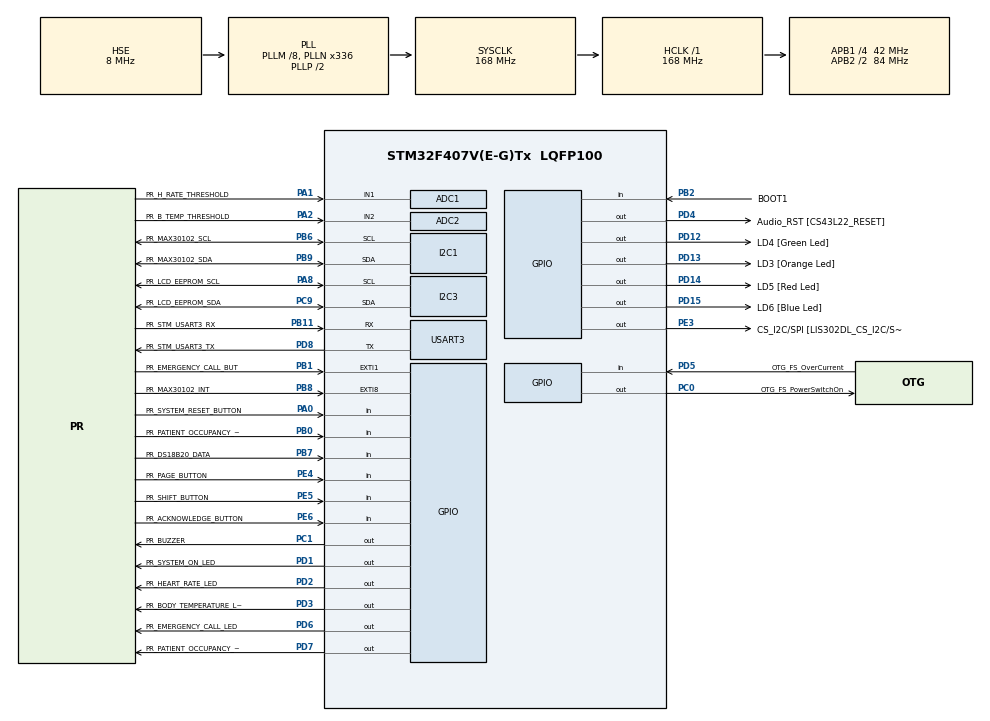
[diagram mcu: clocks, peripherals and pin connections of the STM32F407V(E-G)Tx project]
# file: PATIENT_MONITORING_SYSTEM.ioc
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ADC1.Channel-0\#ChannelRegularConversion=ADC_CHANNEL_1
ADC1.NbrOfConversionFlag=1
ADC1.Rank-0\#ChannelRegularConversion=1
ADC1.Resolution=ADC_RESOLUTION_8B
ADC1.SamplingTime-0\#ChannelRegularConversion=ADC_SAMPLETIME_3CYCLES
ADC1.master=1
ADC2.Channel-0\#ChannelRegularConversion=ADC_CHANNEL_2
ADC2.NbrOfConversionFlag=1
ADC2.Rank-0\#ChannelRegularConversion=1
ADC2.Resolution=ADC_RESOLUTION_6B
ADC2.SamplingTime-0\#ChannelRegularConversion=ADC_SAMPLETIME_3CYCLES
I2C1.I2C_Mode=I2C_Fast
I2C3.I2C_Mode=I2C_Standard
Mcu.Family=STM32F4
Mcu.Name=STM32F407V(E-G)Tx
Mcu.Package=LQFP100
NVIC.EXTI1_IRQn=true\:0\:0\:false\:false\:true\:true\:true\:true
NVIC.EXTI9_5_IRQn=true\:0\:0\:false\:false\:true\:true\:true\:true
NVIC.PriorityGroup=NVIC_PRIORITYGROUP_0
NVIC.TIM6_DAC_IRQn=true\:0\:0\:false\:false\:true\:true\:true\:true
NVIC.USART3_IRQn=true\:0\:0\:false\:false\:true\:true\:true\:true
PA0-WKUP.GPIO_Label=PR_SYSTEM_RESET_BUTTON
PA0-WKUP.Signal=GPIO_Input
PA1.GPIO_Label=PR_H_RATE_THRESHOLD
PA1.Signal=ADCx_IN1
PA10.GPIO_Label=OTG_FS_ID
PA10.GPIO_Mode=GPIO_MODE_AF_PP
PA10.GPIO_PuPd=GPIO_NOPULL
PA10.GPIO_Speed=GPIO_SPEED_FREQ_LOW
PA10.Signal=USB_OTG_FS_ID
PA11.GPIO_Label=OTG_FS_DM
PA11.GPIO_Mode=GPIO_MODE_AF_PP
PA11.GPIO_PuPd=GPIO_NOPULL
PA11.GPIO_Speed=GPIO_SPEED_FREQ_LOW
PA11.Signal=USB_OTG_FS_DM
PA12.GPIO_Label=OTG_FS_DP
PA12.GPIO_Mode=GPIO_MODE_AF_PP
PA12.GPIO_PuPd=GPIO_NOPULL
PA12.GPIO_Speed=GPIO_SPEED_FREQ_LOW
PA12.Signal=USB_OTG_FS_DP
PA13.GPIO_Label=SWDIO
PA13.Mode=Serial_Wire
PA13.Signal=SYS_JTMS-SWDIO
PA14.GPIO_Label=SWCLK
PA14.Mode=Serial_Wire
PA14.Signal=SYS_JTCK-SWCLK
PA2.GPIO_Label=PR_B_TEMP_THRESHOLD
PA2.Signal=ADCx_IN2
PA4.GPIO_Label=I2S3_WS [CS43L22_LRCK]
PA4.GPIO_Mode=GPIO_MODE_AF_PP
PA4.GPIO_PuPd=GPIO_NOPULL
PA4.GPIO_Speed=GPIO_SPEED_FREQ_LOW
PA4.Signal=I2S3_WS
PA5.GPIO_Label=SPI1_SCK [LIS302DL_SCL/SPC]
PA5.GPIO_Mode=GPIO_MODE_AF_PP
PA5.GPIO_PuPd=GPIO_NOPULL
PA5.GPIO_Speed=GPIO_SPEED_FREQ_LOW
PA5.Signal=SPI1_SCK
PA6.GPIO_Label=SPI1_MISO [LIS302DL_SDO]
PA6.GPIO_Mode=GPIO_MODE_AF_PP
PA6.GPIO_PuPd=GPIO_NOPULL
PA6.GPIO_Speed=GPIO_SPEED_FREQ_LOW
PA6.Signal=SPI1_MISO
PA7.GPIO_Label=SPI1_MOSI [LIS302DL_SDA/SDI/SDO]
PA7.GPIO_Mode=GPIO_MODE_AF_PP
PA7.GPIO_PuPd=GPIO_NOPULL
PA7.GPIO_Speed=GPIO_SPEED_FREQ_LOW
PA7.Signal=SPI1_MOSI
PA8.GPIO_Label=PR_LCD_EEPROM_SCL
PA8.Mode=I2C
PA8.Signal=I2C3_SCL
PA9.GPIO_Label=VBUS_FS
PA9.GPIO_Mode=GPIO_MODE_INPUT
PA9.GPIO_PuPd=GPIO_NOPULL
PA9.Signal=USB_OTG_FS_VBUS
PB0.GPIO_Label=PR_PATIENT_OCCUPANCY_DET
PB0.GPIO_PuPd=GPIO_PULLDOWN
PB0.Signal=GPIO_Input
PB1.GPIO_Label=PR_EMERGENCY_CALL_BUT
PB1.GPIO_PuPd=GPIO_PULLDOWN
PB1.Signal=GPXTI1
PB10.GPIO_Label=CLK_IN [MP45DT02_CLK]
PB10.GPIO_Mode=GPIO_MODE_AF_PP
PB10.GPIO_PuPd=GPIO_NOPULL
PB10.GPIO_Speed=GPIO_SPEED_FREQ_LOW
PB10.Signal=I2S2_CK
PB11.GPIO_Label=PR_STM_USART3_RX
PB11.Mode=Asynchronous
PB11.Signal=USART3_RX
PB2.GPIO_Label=BOOT1
PB2.GPIO_Mode=GPIO_MODE_INPUT
PB2.GPIO_PuPd=GPIO_NOPULL
PB2.Signal=GPIO_Input
PB3.GPIO_Label=SWO
PB3.Signal=SYS_JTDO-SWO
PB6.GPIO_Label=PR_MAX30102_SCL
PB6.GPIO_Mode=GPIO_MODE_AF_OD
PB6.GPIO_Pu=GPIO_PULLUP
PB6.GPIO_PuPd=GPIO_NOPULL
PB6.GPIO_Speed=GPIO_SPEED_FREQ_LOW
PB6.Mode=I2C
PB6.Signal=I2C1_SCL
PB7.GPIO_Label=PR_DS18B20_DATA
PB7.GPIO_PuPd=GPIO_NOPULL
PB7.Signal=GPIO_Input
PB8.GPIO_Label=PR_MAX30102_INT
PB8.GPIO_ModeDefaultEXTI=GPIO_MODE_IT_FALLING
PB8.GPIO_PuPd=GPIO_PULLUP
PB8.Signal=GPXTI8
PB9.GPIO_Label=PR_MAX30102_SDA
PB9.GPIO_Mode=GPIO_MODE_AF_OD
PB9.GPIO_Pu=GPIO_PULLUP
PB9.GPIO_PuPd=GPIO_NOPULL
PB9.GPIO_Speed=GPIO_SPEED_FREQ_LOW
PB9.Mode=I2C
PB9.Signal=I2C1_SDA
PC0.GPIO_Label=OTG_FS_PowerSwitchOn
PC0.GPIO_PuPd=GPIO_NOPULL
PC0.GPIO_Speed=GPIO_SPEED_FREQ_LOW
PC0.PinState=GPIO_PIN_SET
PC0.Signal=GPIO_Output
PC1.GPIO_Label=PR_BUZZER
PC1.Signal=GPIO_Output
PC10.GPIO_Label=I2S3_SCK [CS43L22_SCLK]
PC10.GPIO_Mode=GPIO_MODE_AF_PP
PC10.GPIO_PuPd=GPIO_NOPULL
PC10.GPIO_Speed=GPIO_SPEED_FREQ_LOW
PC10.Signal=I2S3_CK
PC12.GPIO_Label=I2S3_SD [CS43L22_SDIN]
PC12.GPIO_Mode=GPIO_MODE_AF_PP
PC12.GPIO_PuPd=GPIO_NOPULL
PC12.GPIO_Speed=GPIO_SPEED_FREQ_LOW
PC12.Signal=I2S3_SD
PC14-OSC32_IN.GPIO_Label=PC14-OSC32_IN
PC14-OSC32_IN.Mode=LSE-External-Oscillator
PC14-OSC32_IN.Signal=RCC_OSC32_IN
PC15-OSC32_OUT.GPIO_Label=PC15-OSC32_OUT
PC15-OSC32_OUT.Mode=LSE-External-Oscillator
PC15-OSC32_OUT.Signal=RCC_OSC32_OUT
PC3.GPIO_Label=PDM_OUT [MP45DT02_DOUT]
PC3.GPIO_Mode=GPIO_MODE_AF_PP
PC3.GPIO_PuPd=GPIO_NOPULL
PC3.GPIO_Speed=GPIO_SPEED_FREQ_LOW
PC3.Signal=I2S2_SD
PC7.GPIO_Label=I2S3_MCK [CS43L22_MCLK]
PC7.GPIO_Mode=GPIO_MODE_AF_PP
PC7.GPIO_PuPd=GPIO_NOPULL
PC7.GPIO_Speed=GPIO_SPEED_FREQ_LOW
PC7.Signal=I2S3_MCK
PC9.GPIO_Label=PR_LCD_EEPROM_SDA
PC9.Mode=I2C
PC9.Signal=I2C3_SDA
PD1.GPIO_Label=PR_SYSTEM_ON_LED
PD1.Signal=GPIO_Output
PD12.GPIO_Label=LD4 [Green Led]
PD12.GPIO_PuPd=GPIO_NOPULL
PD12.GPIO_Speed=GPIO_SPEED_FREQ_LOW
PD12.Signal=GPIO_Output
PD13.GPIO_Label=LD3 [Orange Led]
PD13.GPIO_PuPd=GPIO_NOPULL
PD13.GPIO_Speed=GPIO_SPEED_FREQ_LOW
PD13.Signal=GPIO_Output
PD14.GPIO_Label=LD5 [Red Led]
PD14.GPIO_PuPd=GPIO_NOPULL
PD14.GPIO_Speed=GPIO_SPEED_FREQ_LOW
PD14.Signal=GPIO_Output
PD15.GPIO_Label=LD6 [Blue Led]
PD15.GPIO_PuPd=GPIO_NOPULL
PD15.GPIO_Speed=GPIO_SPEED_FREQ_LOW
PD15.Signal=GPIO_Output
PD2.GPIO_Label=PR_HEART_RATE_LED 
PD2.Signal=GPIO_Output
PD3.GPIO_Label=PR_BODY_TEMPERATURE_LED 
PD3.Signal=GPIO_Output
PD4.GPIO_Label=Audio_RST [CS43L22_RESET]
PD4.GPIO_PuPd=GPIO_NOPULL
PD4.GPIO_Speed=GPIO_SPEED_FREQ_LOW
PD4.Signal=GPIO_Output
PD5.GPIO_Label=OTG_FS_OverCurrent
PD5.GPIO_Mode=GPIO_MODE_INPUT
PD5.GPIO_PuPd=GPIO_NOPULL
PD5.Signal=GPIO_Input
PD6.GPIO_Label=PR_EMERGENCY_CALL_LED 
PD6.Signal=GPIO_Output
PD7.GPIO_Label=PR_PATIENT_OCCUPANCY_LED 
PD7.Signal=GPIO_Output
PD8.GPIO_Label=PR_STM_USART3_TX
PD8.Mode=Asynchronous
PD8.Signal=USART3_TX
PE3.GPIO_Label=CS_I2C/SPI [LIS302DL_CS_I2C/SPI]
PE3.GPIO_PuPd=GPIO_NOPULL
PE3.GPIO_Speed=GPIO_SPEED_FREQ_LOW
PE3.Signal=GPIO_Output
PE4.GPIO_Label=PR_PAGE_BUTTON
PE4.Signal=GPIO_Input
PE5.GPIO_Label=PR_SHIFT_BUTTON
PE5.Signal=GPIO_Input
PE6.GPIO_Label=PR_ACKNOWLEDGE_BUTTON
PE6.Signal=GPIO_Input
PH0-OSC_IN.GPIO_Label=PH0-OSC_IN
PH0-OSC_IN.Mode=HSE-External-Oscillator
PH0-OSC_IN.Signal=RCC_OSC_IN
PH1-OSC_OUT.GPIO_Label=PH1-OSC_OUT
PH1-OSC_OUT.Mode=HSE-External-Oscillator
PH1-OSC_OUT.Signal=RCC_OSC_OUT
ProjectManager.HeapSize=0x200
ProjectManager.StackSize=0x400
ProjectManager.TargetToolchain=STM32CubeIDE
RCC.48MHZClocksFreq_Value=48000000
RCC.AHBFreq_Value=168000000
RCC.APB1CLKDivider=RCC_HCLK_DIV4
RCC.APB1Freq_Value=42000000
RCC.APB1TimFreq_Value=84000000
RCC.APB2CLKDivider=RCC_HCLK_DIV2
RCC.APB2Freq_Value=84000000
RCC.APB2TimFreq_Value=168000000
RCC.CortexFreq_Value=168000000
RCC.HCLKFreq_Value=168000000
RCC.HSE_VALUE=8000000
RCC.HSI_VALUE=16000000
RCC.PLLM=8
RCC.PLLN=336
RCC.PLLQ=7
RCC.PLLSourceVirtual=RCC_PLLSOURCE_HSE
RCC.SYSCLKFreq_VALUE=168000000
RCC.SYSCLKSource=RCC_SYSCLKSOURCE_PLLCLK
RCC.VCOOutputFreq_Value=336000000
SH.ADCx_IN1.0=ADC1_IN1,IN1
SH.ADCx_IN2.0=ADC2_IN2,IN2
TIM6.Period=4
TIM6.Prescaler=16799
TIM6.TIM_MasterOutputTrigger=TIM_TRGO_UPDATE
USART3.VirtualMode=VM_ASYNC
VP_TIM6_VS_ClockSourceINT.Mode=Enable_Timer
board=STM32F407G-DISC1

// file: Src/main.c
/* USER CODE BEGIN Header */
//********************************************************************************************************************/
// Summary    	:
// Date       	: 12.05.2023
// Author     	: Project Group
// Version    	: 1.00 - 10.01.2023  :Initial version
// Sources    	:
// Libraries  	:
// Notes      	: MAX30102 Ayarlar:
//				: I2C1 modulunu aktif ediyoruz. I2C Fast Mode (400kHz),
//				: MAX30102'den kesme alabilmek için bir pini GPIO_EXTIx olarak ayarliyoruz.
//			  	: Bu pinin modunu Falling Edge ve pull-up olarak konfigure ediyoruz.
//				: Interrupt alinabilmesi ici NVIC kesme onay kutusu isaretlenmis olmalidir.
//				: DS18B20 Ayarlar:
//				: DS1820B.c dosyasinda DQ sinyalini bagladigimiz port ve pin'i tanimliyoruz.
//				: LCD Display ayarları:
//				: I2C3 modülünü aktif ediyoruz. I2C Standart Mode (100kHz),
//				: liquidcrystal_i2c.c dosyasında "extern I2C_HandleTypeDef hi2c3" olarak düzenliyoruz.
//				: liquidcrystal_i2c.c dosyasında ExpanderWrite fonksiyonunuda da HAL_I2C_Master_Transmit
//				: fonksiyonu ilk parametresini &hi2c3 olarak degistiriyoruz.
//********************************************************************************************************************/
//********************************************************************************************************************/
// PD0 -> PR_PATIENT_OCCUPANCY
// PD1 -> PR_EMERGENCY_CALL

/* USER CODE END Header */
#include "main.h"

/* USER CODE BEGIN Includes */
#include "MAX30102.h"
#include "DS18B20.h"
#include "EEPROM.h"
#include "liquidcrystal_i2c.h"

#include "string.h"
#include "stdlib.h"																					// atoi fonksiyonu kullanılacaksa bu kütüphane dosyasına ihtiyaç var (şu an için kullanmadık).
#include "stdio.h"																					// printf, sprintf fonksiyonları kullanılacaksa bu kütüphane dosyasına ihtiyaç var.
#include "stdbool.h"																				// boolean type tanımları için...

/* USER CODE END Includes */

ADC_HandleTypeDef hadc1;
ADC_HandleTypeDef hadc2;

I2C_HandleTypeDef hi2c1;
I2C_HandleTypeDef hi2c3;

TIM_HandleTypeDef htim6;

UART_HandleTypeDef huart3;

/* USER CODE BEGIN PV */
/*------ Lag Free Delay Variables ------*/
uint32_t last_time = 0;
uint32_t present_time = 0;
uint16_t process_period_timer = 0;																	// Analog Okuma, DHT ve UART için işlemlerin uygylanma periyodunu belirleyen zamanlama değişkeni

/*--------- Debounce variables ---------*/
/* Page Button */
uint8_t button_state1;
uint8_t last_button_state1 = 0;
uint32_t last_debounce_time1 = 0;
uint32_t debounce_delay1 = 50;
/* Shift Button */
uint8_t button_state2;
uint8_t last_button_state2 = 0;
uint32_t last_debounce_time2 = 0;
uint32_t debounce_delay2 = 50;
/* Acknowledge Button */
uint8_t button_state3;
uint8_t last_button_state3 = 0;
uint32_t last_debounce_time3 = 0;
uint32_t debounce_delay3 = 50;

/*--- MAX30102 Variables ---*/
uint8_t finger_on = 0;
int32_t hr_old = 1, hr_new = 1;
int32_t sp_old = 1, sp_new = 1;
float T = 0.0;

/*---- DS18B20 Variables ---*/
DS_DataTypedef DS_Data;
uint8_t temp_integer = 0;																			// Sıcaklık verisinin tam sayı kısmı,
uint8_t temp_sign = 0;
float temp_fractional = 0.0;
float temp_full = 0.0;

/*--- LCD Display Variables ---*/
char char_array[16];																				// sprintf fonksiyonunda string oluşturmak için gerekli char dizi.
char row0_cursor = '>';
char row1_cursor = ' ';
uint8_t row0_value = 0;
uint8_t row1_value = 0;
uint8_t page_number = 0;																			// Display görüntüleri arasındaki geçiş için kullanılan counter değişkeni
uint8_t shift_counter = 0;																			// Satırlar arasında geçiş için kullanılan counter değişkeni

/*--- ADC Threshold Set Variables ---*/
uint16_t hr_adc_threshold = 0;																		// Potansiyometre ile ayarlanan Heart Rate değeri
uint16_t bt_adc_threshold = 0;																		// Potansiyometre ile ayarlanan Body Temperature değeri

/*--- Occupancy Detector and CAll Button Variables ---*/
bool emergency_button_flag = false;
uint8_t po_button_state;
uint8_t po_last_button_state = 0;
uint32_t po_last_debounce_time = 0;
uint32_t po_debounce_delay = 50;

/*--- EEPROM Variables ---*/
uint8_t threshold_values[4];

/*------ Buzzer Control Variables ------*/
uint16_t buzzer_timing_counter1 = 0;																// Buzzer'ın kesikli veya kısa süreli beep yapması için Timer kesmesi içinde artırılan zamanlama değişkeni
uint16_t buzzer_timing_counter2 = 0;
bool alarm_buzzer_enable = false;
bool acknowledge_buzzer_enable = false;

/*---- UART Communication Variables ----*/
uint8_t transmit_data[2] = {0, 0};
uint8_t receive_data[2] = {0, 0}; 																	// Veri almıyoruz.o sebeple kullanılmıyor.
bool command1_flag = false;
bool command2_flag = false;
bool command3_flag = false;
bool command4_flag = false;
bool command5_flag = false;
bool command6_flag = false;

/*--- General Variables ---*/
bool clear_once = false;
bool one_shot_hr = true;
bool one_shot_bt = true;
bool system_alarm_enable = true;																	// Sistemin alarm fonksiyonları devrede;
uint16_t test_counter = 0;
/* USER CODE END PV */

void SystemClock_Config(void);
static void MX_GPIO_Init(void);
static void MX_I2C1_Init(void);
static void MX_ADC1_Init(void);
static void MX_ADC2_Init(void);
static void MX_I2C3_Init(void);
static void MX_USART3_UART_Init(void);
static void MX_TIM6_Init(void);

/* USER CODE BEGIN 0 */

/*================= GPIO Input olarak konfigure edilmis pinlerden gelen kesmeler =================*/
void HAL_GPIO_EXTI_Callback(uint16_t GPIO_Pin){
	if(GPIO_Pin == PR_MAX30102_INT_Pin){
		Max30102_InterruptCallback();
	}

	if (GPIO_Pin == PR_EMERGENCY_CALL_BUT_Pin){														// Kesme Emergency Call Button kaynakli ise;
		emergency_button_flag = true;
	}
}

/*========================= Her 1 ms'de bir kere calisan Timer 6 kesmesi =========================*/
void HAL_TIM_PeriodElapsedCallback(TIM_HandleTypeDef *htim)
{
	if (htim->Instance == htim6.Instance){															// Gelen Timer kesemsi Timer6 kaynakli ise;
		if (alarm_buzzer_enable == true){															// Alarm aktif olduysa;
			if (buzzer_timing_counter1 == 500){														// 500 ms sure ile
				HAL_GPIO_TogglePin(PR_BUZZER_GPIO_Port, PR_BUZZER_Pin);								// Buzzer'in bagli oldugu pini 1 ve 0 yap.
				buzzer_timing_counter1 = 0;
			}
			buzzer_timing_counter1 ++;
		}

		if (acknowledge_buzzer_enable == true){														// Acknowledge butonuna basildiysa;
			if (buzzer_timing_counter2 == 200){														// 200 ms sure sonunda
				HAL_GPIO_WritePin(PR_BUZZER_GPIO_Port, PR_BUZZER_Pin, 0);							// Buzzer'i sustur.
				buzzer_timing_counter2 = 0;
				acknowledge_buzzer_enable = false;													// 1 kes beep yapmasini istediğimizden flag'i false yaptik.
			}
			buzzer_timing_counter2 ++;
		}
	}
}

/*============ ESP-01'den UART verisi geldiginde tetiklenen interrupt (kullanilmiyor) ============*/
void HAL_UART_RxCpltCallback(UART_HandleTypeDef *huart)
{
	if (huart->Instance == USART3){
	/* Alınan veri burada isleniyor */
	}
	// HAL_UART_Receive_IT(&huart3, receive_data, 2);
}

/* USER CODE END 0 */

int main(void)
{
  /* USER CODE BEGIN 1 */
  //EEPROM_Write_NUM (0, 0, dataw);
  //HAL_Delay(50);
  //datar = EEPROM_Read_NUM (0, 0);
  /* USER CODE END 1 */

  /* MCU Configuration--------------------------------------------------------*/

  /* Reset of all peripherals, Initializes the Flash interface and the Systick. */
  HAL_Init();

  /* Configure the system clock */
  SystemClock_Config();

  /* Initialize all configured peripherals */
  MX_GPIO_Init();
  MX_I2C1_Init();
  MX_ADC1_Init();
  MX_ADC2_Init();
  MX_I2C3_Init();

  MX_USART3_UART_Init();

  MX_TIM6_Init();
  /* USER CODE BEGIN 2 */

  LCD_Init(2);																						// LCD display 2 satir oldugu icin fonksiyon parametresine 2 degerini yazdik.
  LCD_Clear();

  Max30102_Init(&hi2c1);																			// Aktif edilen I2C1 struct'ının adresini veriyoruz.
  Max30102_ShutdownMode(1);																			// Uyku moduna aldik.
  HAL_Delay(1000);
  Max30102_ShutdownMode(0);																			// Uyku modundan ciktik.
  HAL_Delay(1000);

  DS_GetData(&DS_Data);																				// Sicaklik sensorunun olctugu veriyi aliyoruz.
  temp_integer = DS_Data.T_Integer;																	// Elde edilen verinin tam sayi kismi
  HAL_Delay(100);

  EEPROM_Read(0, 0, threshold_values, 4);															// Program baslarken EEPROM'dan set degerlerini okuyoruz.

  HAL_TIM_Base_Start_IT(&htim6);																	// Timer 6'yi baslattik.

  HAL_GPIO_WritePin(PR_SYSTEM_ON_LED_GPIO_Port, PR_SYSTEM_ON_LED_Pin, 1);							// Baslangicta sistemin alarm fonksiyonlarinin aktif oldugunu gosteren yesil LED'i aktif ediyoruz.
  /* USER CODE END 2 */

  /* Infinite loop */
  while (1)
  {

    /* USER CODE BEGIN 3 */
	Max30102_Task();																				// Library fonksiyonlarinin calisabilmesi icin while icerisinde surekli islenmelidir.
	//char Buffer[32];

	/*-------------------------- SCHEDULED TASKS IN LAG FREE DELAY Begin -------------------------*/
	present_time = HAL_GetTick();																	// HAL_GetTick() fonksiyonu sistem basladiginden itibaren gecen sureyi milisaniye olarak dondurur.
	if (present_time - last_time > 1){
		last_time = present_time;

		/* Analog value reading */
		if (process_period_timer == 0){
			/*--- Heart Rate Potentiometer ---*/
			HAL_ADC_Start(&hadc1);																	// ADC modulunu baslatarak analog'tan dijitale cevrim surecine start verdik.
			while(HAL_ADC_PollForConversion(&hadc1, 300));											// Cevrim bitene kadar bekliyoruz
			hr_adc_threshold = (int)(HAL_ADC_GetValue(&hadc1)/2);
			HAL_ADC_Stop(&hadc1);																	// ADC modulunu durdurduk.

			/*--- Body Temperature Potentiometer ---*/
			HAL_ADC_Start(&hadc2);
			while(HAL_ADC_PollForConversion(&hadc2, 300));
			bt_adc_threshold = HAL_ADC_GetValue(&hadc2);
			HAL_ADC_Stop(&hadc2);
		}

		/* DS18B20 reading */
		if (process_period_timer == 100){
			DS_GetData(&DS_Data);																	// Sicaklik sensorunun olctugu veriyi aliyoruz.
			temp_integer = DS_Data.T_Integer;														// Elde edilen verinin tam sayi kismi
			temp_fractional = DS_Data.T_Fractional;													// Elde edilen verinin virgulden sonraki (ondalikli) kismi
			temp_full = DS_Data.T_Reel;																// Verinin butun hali (float type variable)
			temp_sign = DS_Data.Sign;																// Sicaklik verisinin isareti (> 0 ise 1, < 0 ise 0)
		}

		/* MAX30102 reading */
		if (process_period_timer == 300){
			finger_on = Max30102_IsFingerOnSensor();												// Sensore parmak yaklasip yaklasmadigina bakiyoruz.
			hr_new = Max30102_GetHeartRate();														// Kalp atis hizini aliyoruz.
			sp_new = Max30102_GetSpO2Value();														// Oksijen oranini aliyoruz (O2 saturasyon - max: 100)
			if (finger_on == MAX30102_OK){ 															// Parmak var, ve oncekilerden farkli bir veri elde edilmisse;
				if (hr_new > 30){
					if ((hr_old != hr_new) || (sp_old != sp_new)){
						hr_old = hr_new;															// Nabiz degerini tekrar okuyarak yeni bir degiskene aldik.
						sp_old = sp_new;															// Oksijen oranini tekrar okuyarak yeni bir degiskene aldik.
					}
				}
			}
		}

		/* Sending "Command1: Heart Rate alarm LED on/off data" via UART */
		if (process_period_timer == 1200){
			if (command1_flag){
				transmit_data[0] = 0x01;															// Command
				transmit_data[1] = 0x01;															// LED on
				HAL_UART_Transmit(&huart3, transmit_data, 2, 200);
				command1_flag = false;
			}
		}

		/* Sending "Command2: Heart Rate value" via UART */
		if (process_period_timer == 1300){
			transmit_data[0] = 0x02;																// Command
			transmit_data[1] = (uint8_t)hr_old;														// Heart Rate value
			HAL_UART_Transmit(&huart3, transmit_data, 2, 200);
		}

		/* Sending "Command3: Body Temp. alarm LED on/off data" via UART */
		if (process_period_timer == 1400){
			if (command3_flag){
				transmit_data[0] = 0x03;															// Command
				transmit_data[1] = 0x01;															// LED on
				HAL_UART_Transmit(&huart3, transmit_data, 2, 200);
				command3_flag = false;
			}
		}

		/* Sending "Command5: Emergency Call alarm LED on/off data" via UART*/
		if (process_period_timer == 1500){
			if (command5_flag){
				transmit_data[0] = 0x05;															// Command
				transmit_data[1] = 0x01;															// LED on
				HAL_UART_Transmit(&huart3, transmit_data, 2, 200);
				command5_flag = false;
			}
		}

		/* Sending "Command6: Pat. Occu. warning LED on/off data" via UART */
		if (process_period_timer == 1600){
			if (command6_flag){
				transmit_data[0] = 0x06;																// Command
				transmit_data[1] = 0x01;																// LED on
				HAL_UART_Transmit(&huart3, transmit_data, 2, 200);
				command6_flag = false;
			}
		}

		/* Display Control Lines */
		if (process_period_timer == 1700){
			/* Heart Rate and Temperature screen */
			if (page_number == 0){
				if (clear_once == true){
					LCD_Clear();
					clear_once = false;
				}
				if ((hr_old > 0) && (finger_on == MAX30102_OK)){									// Sensor üzerinde parmak varsa ve hatalı olcum yapilmiyorsa (örn: -999)
					sprintf(char_array, "Hr.Rate:%3d bpm", (int)hr_old);							// %3d: 3 basamaklı decimal sayi ve saga yasli
					LCD_SetCursor(0, 0);															// LCD_SetCursor(column, row)
					LCD_PrintStr(char_array);														// Birlestirilen karakterleri ekrana basiyoruz.
				}
				else{																				// Parmak yoksa veya hatali okuma gerceklesmisse...
					LCD_SetCursor(0, 0);															// LCD_SetCursor(column, row)
					LCD_PrintStr("Hr.Rate: Error! ");												// Ekrana "Error" mesaji basiyoruz.
				}
				sprintf(char_array, "Bd.Temp:%2d.%d %cC",
						(int)temp_integer,
						(int)(temp_fractional * 10),
						223);
				LCD_SetCursor(0, 1);
				LCD_PrintStr(char_array);
			}

			/* SpO2 screen*/
			if (page_number == 1){
				if (clear_once == true){
					LCD_Clear();
					clear_once = false;
				}
				if ((sp_old > 0) && (finger_on == MAX30102_OK)){
					sprintf(char_array, "SpO2 Level: %3d", (int)sp_old);
					LCD_SetCursor(0, 0);
					LCD_PrintStr(char_array);
				}
				else{
					LCD_SetCursor(0, 0);															// LCD_SetCursor(column, row)
					LCD_PrintStr("SpO2 Level:Error");
				}

				LCD_SetCursor(0, 1);																// LCD_SetCursor(column, row)
				LCD_PrintStr("----------------");
			}

			/* Heart Rate threshold max. min. adjustment screen */
			if (page_number == 2){
				if (clear_once == true){
					LCD_Clear();
					clear_once = false;
				}

				if (shift_counter == 0){
					row0_cursor = ' ';
					row1_cursor = ' ';
					row0_value = (int)threshold_values[0];
					row1_value = (int)threshold_values[1];
				}

				if (shift_counter == 1){
					row0_cursor = '>';
					row1_cursor = ' ';
					row0_value = hr_adc_threshold;
					row1_value = (int)threshold_values[1];
				}

				if (shift_counter == 2){
					row0_cursor = ' ';
					row1_cursor = '>';
					row0_value = (int)threshold_values[0];
					row1_value = hr_adc_threshold;
				}

				sprintf(char_array, "HR.Th.Min.:%c%3d", row0_cursor, row0_value);
				LCD_SetCursor(0, 0);
				LCD_PrintStr(char_array);

				sprintf(char_array, "HR.Th.Max.:%c%3d", row1_cursor, row1_value);
				LCD_SetCursor(0, 1);
				LCD_PrintStr(char_array);
			}

			/* Body Temperature threshold max. min. adjustment screen  */
			if (page_number == 3){
				if (clear_once == true){
					LCD_Clear();
					clear_once = false;
				}

				if (shift_counter == 0){
					row0_cursor = ' ';
					row1_cursor = ' ';
					row0_value = (int)threshold_values[2];
					row1_value = (int)threshold_values[3];
				}

				if (shift_counter == 1){
					row0_cursor = '>';
					row1_cursor = ' ';
					row0_value = bt_adc_threshold;
					row1_value = (int)threshold_values[3];
				}

				if (shift_counter == 2){
					row0_cursor = ' ';
					row1_cursor = '>';
					row0_value = (int)threshold_values[2];
					row1_value = bt_adc_threshold;
				}

				sprintf(char_array, "BT.Th.Min.:%c%3d", row0_cursor, row0_value);
				LCD_SetCursor(0, 0);
				LCD_PrintStr(char_array);

				sprintf(char_array, "BT.Th.Max.:%c%3d", row1_cursor, row1_value);
				LCD_SetCursor(0, 1);
				LCD_PrintStr(char_array);
			}

			/* Alarm screens  */
			if (page_number == 10){
				if (clear_once == true){
					LCD_Clear();
					clear_once = false;
				}

				LCD_SetCursor(0, 0);
				LCD_PrintStr(" LOW HEART RATE ");

				LCD_SetCursor(0, 1);
				LCD_PrintStr("     ALARM!     ");
			}

			if (page_number == 11){
				if (clear_once == true){
					LCD_Clear();
					clear_once = false;
				}

				LCD_SetCursor(0, 0);
				LCD_PrintStr("HIGH HEART RATE ");

				LCD_SetCursor(0, 1);
				LCD_PrintStr("     ALARM!     ");
			}

			if (page_number == 12){
				if (clear_once == true){
					LCD_Clear();
					clear_once = false;
				}

				LCD_SetCursor(0, 0);
				LCD_PrintStr("LOW TEMPERATURE ");

				LCD_SetCursor(0, 1);
				LCD_PrintStr("     ALARM!     ");
			}

			if (page_number == 13){
				if (clear_once == true){
					LCD_Clear();
					clear_once = false;
				}

				LCD_SetCursor(0, 0);
				LCD_PrintStr("HIGH TEMPERATURE");

				LCD_SetCursor(0, 1);
				LCD_PrintStr("     ALARM!     ");
			}

			if (page_number == 14){
				if (clear_once == true){
					LCD_Clear();
					clear_once = false;
				}

				LCD_SetCursor(0, 0);
				LCD_PrintStr("   EMERGENCY    ");

				LCD_SetCursor(0, 1);
				LCD_PrintStr("     ALARM!     ");
			}

			if (page_number == 15){
				if (clear_once == true){
					LCD_Clear();
					clear_once = false;
				}

				LCD_SetCursor(0, 0);
				LCD_PrintStr(" PATIENT IS NOT ");

				LCD_SetCursor(0, 1);
				LCD_PrintStr("     IN BED     ");
			}
		}

		/* Period Completion */
		if (process_period_timer == 1800){
			process_period_timer = -1;
			test_counter ++;
		}
		process_period_timer ++;
	}
	/*--------------------------- SCHEDULED TASKS IN LAG FREE DELAY End --------------------------*/

	/*----------------------------- PERIPHERAL DEVICES CONTROL Begin -----------------------------*/

	/* Heart Rate threshold values control */
	if ((finger_on == MAX30102_OK) && system_alarm_enable){
		if (hr_old < threshold_values[0]){
			if (one_shot_hr){
				HAL_GPIO_WritePin(PR_HEART_RATE_LED_GPIO_Port, PR_HEART_RATE_LED_Pin, 1);
				buzzer_timing_counter1 = 0;
				alarm_buzzer_enable = true;
				page_number = 10;
				clear_once = true;
				command1_flag = true;
				one_shot_hr = false;
			}
		}
		else if (hr_old > threshold_values[1]){
			if (one_shot_hr){
				HAL_GPIO_WritePin(PR_HEART_RATE_LED_GPIO_Port, PR_HEART_RATE_LED_Pin, 1);
				buzzer_timing_counter1 = 0;
				alarm_buzzer_enable = true;
				page_number = 11;
				clear_once = true;
				command1_flag = true;
				one_shot_hr = false;
			}
		}
	}

	/* Body Temperature threshold values control */
	if (system_alarm_enable){
		if (temp_integer < threshold_values[2]){
			if (one_shot_bt){
				HAL_GPIO_WritePin(PR_BODY_TEMPERATURE_LED_GPIO_Port, PR_BODY_TEMPERATURE_LED_Pin, 1);
				buzzer_timing_counter1 = 0;
				alarm_buzzer_enable = true;
				page_number = 12;
				clear_once = true;
				command3_flag = true;
				one_shot_bt = false;
			}
		}
		if (temp_integer >= threshold_values[3]){
			if (one_shot_bt){
				HAL_GPIO_WritePin(PR_BODY_TEMPERATURE_LED_GPIO_Port, PR_BODY_TEMPERATURE_LED_Pin, 1);
				buzzer_timing_counter1 = 0;
				alarm_buzzer_enable = true;
				page_number = 13;
				clear_once = true;
				command3_flag = true;
				one_shot_bt = false;
			}
		}
	}

	/* Emergency Call button signal processing & action */
	if (system_alarm_enable){
		if (emergency_button_flag){
			HAL_GPIO_WritePin(PR_EMERGENCY_CALL_LED_GPIO_Port, PR_EMERGENCY_CALL_LED_Pin, 1);
			buzzer_timing_counter1 = 0;
			alarm_buzzer_enable = true;
			page_number = 14;
			clear_once = true;
			command5_flag = true;
			emergency_button_flag = false;
		}
	}

	/* Patient Occupancy Detector signal processing & action (Debounced) */
	if (system_alarm_enable){
		uint8_t po_reading;
		po_reading = HAL_GPIO_ReadPin(PR_PATIENT_OCCUPANCY_DET_GPIO_Port, PR_PATIENT_OCCUPANCY_DET_Pin);
		if (po_reading != po_last_button_state){
			po_last_debounce_time = HAL_GetTick();
		}
		if ((HAL_GetTick() - po_last_debounce_time) > po_debounce_delay){
			if (po_reading != po_button_state){
				po_button_state = po_reading;
				/*--------------- Job Section Begin ---------------*/
				if (po_button_state == 0){															// Buton (pull-up bağlı ise) basılı iken çalışan blok
					/*** Pressed ***/

				}
				else{																				// Buton (pull-up bağlı ise) basılı değil iken çalışan blok
					/*** Released ***/
					HAL_GPIO_WritePin(PR_PATIENT_OCCUPANCY_LED_GPIO_Port, PR_PATIENT_OCCUPANCY_LED_Pin, 1);
					buzzer_timing_counter1 = 0;
					alarm_buzzer_enable = true;
					page_number = 15;
					clear_once = true;
					command6_flag = true;
				}
				/*---------------- Job Section End ----------------*/
			}
		}
		po_last_button_state = po_reading;
	}
	/*------------------------------ PERIPHERAL DEVICES CONTROL End ------------------------------*/

	/*----------------------------- SYSTEM RESET BUTTON CONTROL Begin ----------------------------*/
	if (HAL_GPIO_ReadPin(PR_SYSTEM_RESET_BUTTON_GPIO_Port, PR_SYSTEM_RESET_BUTTON_Pin)){
		HAL_GPIO_WritePin(PR_BUZZER_GPIO_Port, PR_BUZZER_Pin, 0);									// Buzzer pin'i aktif kalmissa off yap.
		HAL_GPIO_WritePin(PR_SYSTEM_ON_LED_GPIO_Port, PR_SYSTEM_ON_LED_Pin, 0);						// Sistemin aktif oldugunu gosteren LED'i sondur.
		HAL_GPIO_WritePin(PR_HEART_RATE_LED_GPIO_Port, PR_HEART_RATE_LED_Pin, 0);
		HAL_GPIO_WritePin(PR_BODY_TEMPERATURE_LED_GPIO_Port, PR_BODY_TEMPERATURE_LED_Pin, 0);
		HAL_GPIO_WritePin(PR_EMERGENCY_CALL_LED_GPIO_Port, PR_EMERGENCY_CALL_LED_Pin, 0);
		HAL_GPIO_WritePin(PR_PATIENT_OCCUPANCY_LED_GPIO_Port, PR_PATIENT_OCCUPANCY_LED_Pin, 0);

		system_alarm_enable = false;
		alarm_buzzer_enable = false;
		acknowledge_buzzer_enable = false;

		one_shot_hr = true;
		one_shot_bt = true;
		page_number = 0;
		clear_once = true;

		transmit_data[0] = 0x01;																// Command
		transmit_data[1] = 0x00;																// LED on
		HAL_UART_Transmit(&huart3, transmit_data, 2, 200);
		HAL_Delay(200);

		transmit_data[0] = 0x03;																// Command
		transmit_data[1] = 0x00;																// LED on
		HAL_UART_Transmit(&huart3, transmit_data, 2, 200);
		HAL_Delay(200);

		transmit_data[0] = 0x05;																// Command
		transmit_data[1] = 0x00;																// LED on
		HAL_UART_Transmit(&huart3, transmit_data, 2, 200);
		HAL_Delay(200);

		transmit_data[0] = 0x06;																// Command
		transmit_data[1] = 0x00;																// LED on
		HAL_UART_Transmit(&huart3, transmit_data, 2, 200);
		HAL_Delay(200);
	}
	/*------------------------------ SYSTEM RESET BUTTON CONTROL End -----------------------------*/

	/*--------------------- CONTROL & MONITORING LAYER BUTTONS CONTROL Begin ---------------------*/
	/* Page Button (Debounced) */
	uint8_t reading1;
	reading1 = HAL_GPIO_ReadPin(PR_PAGE_BUTTON_GPIO_Port, PR_PAGE_BUTTON_Pin);
	if (reading1 != last_button_state1){
		last_debounce_time1 = HAL_GetTick();
	}
	if ((HAL_GetTick() - last_debounce_time1) > debounce_delay1){
		if (reading1 != button_state1){
			button_state1 = reading1;
			/*--------------- Job Section Begin ---------------*/
			if (button_state1 == 0){																// Buton (pull-up bağlı ise) basılı iken çalışan blok
				/*** Pressed ***/
				page_number ++;
				clear_once = true;
				shift_counter = 0;
				if (page_number == 4){
					page_number = 0;
				}
			}
			else{																					// Buton (pull-up bağlı ise) basılı değil iken çalışan blok
				/*** Released ***/
			}
			/*---------------- Job Section End ----------------*/
		}
 	}
	last_button_state1 = reading1;

	/* Shift Button (Debounced) */
	uint8_t reading2;
	reading2 = HAL_GPIO_ReadPin(PR_SHIFT_BUTTON_GPIO_Port, PR_SHIFT_BUTTON_Pin);
	if (reading2 != last_button_state2){
		last_debounce_time2 = HAL_GetTick();
	}
	if ((HAL_GetTick() - last_debounce_time2) > debounce_delay2){
		if (reading2 != button_state2){
			button_state2 = reading2;
			/*--------------- Job Section Begin ---------------*/
			if (button_state2 == 0){																// Buton (pull-up bağlı ise) basılı iken çalışan blok
				/*** Pressed ***/
				shift_counter ++;
				if (shift_counter == 3){
					shift_counter = 0;
				}
			}
			else{																					// Buton (pull-up bağlı ise) basılı değil iken çalışan blok
				/*** Released ***/
			}
			/*---------------- Job Section End ----------------*/
		}
	}
	last_button_state2 = reading2;

	/* Acknowledge Button (Debounced) */
	uint8_t reading3;
	reading3 = HAL_GPIO_ReadPin(PR_ACKNOWLEDGE_BUTTON_GPIO_Port, PR_ACKNOWLEDGE_BUTTON_Pin);
	if (reading3 != last_button_state3){
		last_debounce_time3 = HAL_GetTick();
	}
	if ((HAL_GetTick() - last_debounce_time3) > debounce_delay3){
		if (reading3 != button_state3){
			button_state3 = reading3;
			/*--------------- Job Section Begin ---------------*/
			if (button_state3 == 0){																// Buton (pull-up bağlı ise) basılı iken çalışan blok
				/*** Pressed ***/
				if ((page_number == 2) && (shift_counter == 1)){
					threshold_values[0] = hr_adc_threshold;
					EEPROM_Write(0, 0, (threshold_values + 0), 1);
					shift_counter = 2;
					/* Beep */
					acknowledge_buzzer_enable = true;
					buzzer_timing_counter2 = 0;
					HAL_GPIO_WritePin(PR_BUZZER_GPIO_Port, PR_BUZZER_Pin, 1);
				}
				else if ((page_number == 2) && (shift_counter == 2)){
					threshold_values[1] = hr_adc_threshold;
					EEPROM_Write(0, 1, (threshold_values + 1), 1);
					shift_counter = 0;
					/* Beep */
					acknowledge_buzzer_enable = true;
					buzzer_timing_counter2 = 0;
					HAL_GPIO_WritePin(PR_BUZZER_GPIO_Port, PR_BUZZER_Pin, 1);
				}
				else if ((page_number == 3) && (shift_counter == 1)){
					threshold_values[2] = bt_adc_threshold;
					EEPROM_Write(0, 2, (threshold_values + 2), 1);
					shift_counter = 2;
					/* Beep */
					acknowledge_buzzer_enable = true;
					buzzer_timing_counter2 = 0;
					HAL_GPIO_WritePin(PR_BUZZER_GPIO_Port, PR_BUZZER_Pin, 1);
				}
				else if ((page_number == 3) && (shift_counter == 2)){
					threshold_values[3] = bt_adc_threshold;
					EEPROM_Write(0, 3, (threshold_values + 3), 1);
					shift_counter = 0;
					/* Beep */
					acknowledge_buzzer_enable = true;
					buzzer_timing_counter2 = 0;
					HAL_GPIO_WritePin(PR_BUZZER_GPIO_Port, PR_BUZZER_Pin, 1);
				}
				else{
					if (system_alarm_enable){
						HAL_GPIO_WritePin(PR_SYSTEM_ON_LED_GPIO_Port, PR_SYSTEM_ON_LED_Pin, 0);		// Sistemin aktif oldugunu gosteren LED'i sondur.
						system_alarm_enable = false;
						acknowledge_buzzer_enable = true;
						buzzer_timing_counter2 = 0;
						HAL_GPIO_WritePin(PR_BUZZER_GPIO_Port, PR_BUZZER_Pin, 1);
					}
					else{
						HAL_GPIO_WritePin(PR_SYSTEM_ON_LED_GPIO_Port, PR_SYSTEM_ON_LED_Pin, 1);		// Sistemin aktif oldugunu gosteren LED'i sondur.
						system_alarm_enable = true;
						acknowledge_buzzer_enable = true;
						buzzer_timing_counter2 = 0;
						HAL_GPIO_WritePin(PR_BUZZER_GPIO_Port, PR_BUZZER_Pin, 1);
					}
				}
			}
			else{																					// Buton (pull-up bağlı ise) basılı değil iken çalışan blok
				/*** Released ***/
			}
			/*---------------- Job Section End ----------------*/
		}
	}
	last_button_state3 = reading3;
	/*---------------------- CONTROL & MONITORING LAYER BUTTONS CONTROL End ----------------------*/
  }
  /* USER CODE END 3 */
}

void SystemClock_Config(void)
{
  RCC_OscInitTypeDef RCC_OscInitStruct = {0};
  RCC_ClkInitTypeDef RCC_ClkInitStruct = {0};

  /** Configure the main internal regulator output voltage
  */
  __HAL_RCC_PWR_CLK_ENABLE();
  __HAL_PWR_VOLTAGESCALING_CONFIG(PWR_REGULATOR_VOLTAGE_SCALE1);

  /** Initializes the RCC Oscillators according to the specified parameters
  * in the RCC_OscInitTypeDef structure.
  */
  RCC_OscInitStruct.OscillatorType = RCC_OSCILLATORTYPE_HSE;
  RCC_OscInitStruct.HSEState = RCC_HSE_ON;
  RCC_OscInitStruct.PLL.PLLState = RCC_PLL_ON;
  RCC_OscInitStruct.PLL.PLLSource = RCC_PLLSOURCE_HSE;
  RCC_OscInitStruct.PLL.PLLM = 8;
  RCC_OscInitStruct.PLL.PLLN = 336;
  RCC_OscInitStruct.PLL.PLLP = RCC_PLLP_DIV2;
  RCC_OscInitStruct.PLL.PLLQ = 7;
  if (HAL_RCC_OscConfig(&RCC_OscInitStruct) != HAL_OK)
  {
    Error_Handler();
  }

  /** Initializes the CPU, AHB and APB buses clocks
  */
  RCC_ClkInitStruct.ClockType = RCC_CLOCKTYPE_HCLK|RCC_CLOCKTYPE_SYSCLK
                              |RCC_CLOCKTYPE_PCLK1|RCC_CLOCKTYPE_PCLK2;
  RCC_ClkInitStruct.SYSCLKSource = RCC_SYSCLKSOURCE_PLLCLK;
  RCC_ClkInitStruct.AHBCLKDivider = RCC_SYSCLK_DIV1;
  RCC_ClkInitStruct.APB1CLKDivider = RCC_HCLK_DIV4;
  RCC_ClkInitStruct.APB2CLKDivider = RCC_HCLK_DIV2;

  if (HAL_RCC_ClockConfig(&RCC_ClkInitStruct, FLASH_LATENCY_5) != HAL_OK)
  {
    Error_Handler();
  }
}

static void MX_ADC1_Init(void)
{

  ADC_ChannelConfTypeDef sConfig = {0};

  /** Configure the global features of the ADC (Clock, Resolution, Data Alignment and number of conversion)
  */
  hadc1.Instance = ADC1;
  hadc1.Init.ClockPrescaler = ADC_CLOCK_SYNC_PCLK_DIV4;
  hadc1.Init.Resolution = ADC_RESOLUTION_8B;
  hadc1.Init.ScanConvMode = DISABLE;
  hadc1.Init.ContinuousConvMode = DISABLE;
  hadc1.Init.DiscontinuousConvMode = DISABLE;
  hadc1.Init.ExternalTrigConvEdge = ADC_EXTERNALTRIGCONVEDGE_NONE;
  hadc1.Init.ExternalTrigConv = ADC_SOFTWARE_START;
  hadc1.Init.DataAlign = ADC_DATAALIGN_RIGHT;
  hadc1.Init.NbrOfConversion = 1;
  hadc1.Init.DMAContinuousRequests = DISABLE;
  hadc1.Init.EOCSelection = ADC_EOC_SINGLE_CONV;
  if (HAL_ADC_Init(&hadc1) != HAL_OK)
  {
    Error_Handler();
  }

  /** Configure for the selected ADC regular channel its corresponding rank in the sequencer and its sample time.
  */
  sConfig.Channel = ADC_CHANNEL_1;
  sConfig.Rank = 1;
  sConfig.SamplingTime = ADC_SAMPLETIME_3CYCLES;
  if (HAL_ADC_ConfigChannel(&hadc1, &sConfig) != HAL_OK)
  {
    Error_Handler();
  }

}

static void MX_ADC2_Init(void)
{

  ADC_ChannelConfTypeDef sConfig = {0};

  /** Configure the global features of the ADC (Clock, Resolution, Data Alignment and number of conversion)
  */
  hadc2.Instance = ADC2;
  hadc2.Init.ClockPrescaler = ADC_CLOCK_SYNC_PCLK_DIV4;
  hadc2.Init.Resolution = ADC_RESOLUTION_6B;
  hadc2.Init.ScanConvMode = DISABLE;
  hadc2.Init.ContinuousConvMode = DISABLE;
  hadc2.Init.DiscontinuousConvMode = DISABLE;
  hadc2.Init.ExternalTrigConvEdge = ADC_EXTERNALTRIGCONVEDGE_NONE;
  hadc2.Init.ExternalTrigConv = ADC_SOFTWARE_START;
  hadc2.Init.DataAlign = ADC_DATAALIGN_RIGHT;
  hadc2.Init.NbrOfConversion = 1;
  hadc2.Init.DMAContinuousRequests = DISABLE;
  hadc2.Init.EOCSelection = ADC_EOC_SINGLE_CONV;
  if (HAL_ADC_Init(&hadc2) != HAL_OK)
  {
    Error_Handler();
  }

  /** Configure for the selected ADC regular channel its corresponding rank in the sequencer and its sample time.
  */
  sConfig.Channel = ADC_CHANNEL_2;
  sConfig.Rank = 1;
  sConfig.SamplingTime = ADC_SAMPLETIME_3CYCLES;
  if (HAL_ADC_ConfigChannel(&hadc2, &sConfig) != HAL_OK)
  {
    Error_Handler();
  }

}

static void MX_I2C1_Init(void)
{

  hi2c1.Instance = I2C1;
  hi2c1.Init.ClockSpeed = 400000;
  hi2c1.Init.DutyCycle = I2C_DUTYCYCLE_2;
  hi2c1.Init.OwnAddress1 = 0;
  hi2c1.Init.AddressingMode = I2C_ADDRESSINGMODE_7BIT;
  hi2c1.Init.DualAddressMode = I2C_DUALADDRESS_DISABLE;
  hi2c1.Init.OwnAddress2 = 0;
  hi2c1.Init.GeneralCallMode = I2C_GENERALCALL_DISABLE;
  hi2c1.Init.NoStretchMode = I2C_NOSTRETCH_DISABLE;
  if (HAL_I2C_Init(&hi2c1) != HAL_OK)
  {
    Error_Handler();
  }

}

static void MX_I2C3_Init(void)
{

  hi2c3.Instance = I2C3;
  hi2c3.Init.ClockSpeed = 100000;
  hi2c3.Init.DutyCycle = I2C_DUTYCYCLE_2;
  hi2c3.Init.OwnAddress1 = 0;
  hi2c3.Init.AddressingMode = I2C_ADDRESSINGMODE_7BIT;
  hi2c3.Init.DualAddressMode = I2C_DUALADDRESS_DISABLE;
  hi2c3.Init.OwnAddress2 = 0;
  hi2c3.Init.GeneralCallMode = I2C_GENERALCALL_DISABLE;
  hi2c3.Init.NoStretchMode = I2C_NOSTRETCH_DISABLE;
  if (HAL_I2C_Init(&hi2c3) != HAL_OK)
  {
    Error_Handler();
  }

}

static void MX_TIM6_Init(void)
{

  TIM_MasterConfigTypeDef sMasterConfig = {0};

  htim6.Instance = TIM6;
  htim6.Init.Prescaler = 16799;
  htim6.Init.CounterMode = TIM_COUNTERMODE_UP;
  htim6.Init.Period = 4;
  htim6.Init.AutoReloadPreload = TIM_AUTORELOAD_PRELOAD_DISABLE;
  if (HAL_TIM_Base_Init(&htim6) != HAL_OK)
  {
    Error_Handler();
  }
  sMasterConfig.MasterOutputTrigger = TIM_TRGO_UPDATE;
  sMasterConfig.MasterSlaveMode = TIM_MASTERSLAVEMODE_DISABLE;
  if (HAL_TIMEx_MasterConfigSynchronization(&htim6, &sMasterConfig) != HAL_OK)
  {
    Error_Handler();
  }

}

static void MX_USART3_UART_Init(void)
{

  huart3.Instance = USART3;
  huart3.Init.BaudRate = 115200;
  huart3.Init.WordLength = UART_WORDLENGTH_8B;
  huart3.Init.StopBits = UART_STOPBITS_1;
  huart3.Init.Parity = UART_PARITY_NONE;
  huart3.Init.Mode = UART_MODE_TX_RX;
  huart3.Init.HwFlowCtl = UART_HWCONTROL_NONE;
  huart3.Init.OverSampling = UART_OVERSAMPLING_16;
  if (HAL_UART_Init(&huart3) != HAL_OK)
  {
    Error_Handler();
  }

}

static void MX_GPIO_Init(void)
{
  GPIO_InitTypeDef GPIO_InitStruct = {0};

  /* GPIO Ports Clock Enable */
  __HAL_RCC_GPIOE_CLK_ENABLE();
  __HAL_RCC_GPIOC_CLK_ENABLE();
  __HAL_RCC_GPIOH_CLK_ENABLE();
  __HAL_RCC_GPIOA_CLK_ENABLE();
  __HAL_RCC_GPIOB_CLK_ENABLE();
  __HAL_RCC_GPIOD_CLK_ENABLE();

  /*Configure GPIO pin Output Level */
  HAL_GPIO_WritePin(CS_I2C_SPI_GPIO_Port, CS_I2C_SPI_Pin, GPIO_PIN_RESET);

  /*Configure GPIO pin Output Level */
  HAL_GPIO_WritePin(OTG_FS_PowerSwitchOn_GPIO_Port, OTG_FS_PowerSwitchOn_Pin, GPIO_PIN_SET);

  /*Configure GPIO pin Output Level */
  HAL_GPIO_WritePin(PR_BUZZER_GPIO_Port, PR_BUZZER_Pin, GPIO_PIN_RESET);

  /*Configure GPIO pin Output Level */
  HAL_GPIO_WritePin(GPIOD, LD4_Pin|LD3_Pin|LD5_Pin|LD6_Pin
                          |PR_SYSTEM_ON_LED_Pin|PR_HEART_RATE_LED_Pin|PR_BODY_TEMPERATURE_LED_Pin|Audio_RST_Pin
                          |PR_EMERGENCY_CALL_LED_Pin|PR_PATIENT_OCCUPANCY_LED_Pin, GPIO_PIN_RESET);

  /*Configure GPIO pin : CS_I2C_SPI_Pin */
  GPIO_InitStruct.Pin = CS_I2C_SPI_Pin;
  GPIO_InitStruct.Mode = GPIO_MODE_OUTPUT_PP;
  GPIO_InitStruct.Pull = GPIO_NOPULL;
  GPIO_InitStruct.Speed = GPIO_SPEED_FREQ_LOW;
  HAL_GPIO_Init(CS_I2C_SPI_GPIO_Port, &GPIO_InitStruct);

  /*Configure GPIO pins : PR_PAGE_BUTTON_Pin PR_SHIFT_BUTTON_Pin PR_ACKNOWLEDGE_BUTTON_Pin */
  GPIO_InitStruct.Pin = PR_PAGE_BUTTON_Pin|PR_SHIFT_BUTTON_Pin|PR_ACKNOWLEDGE_BUTTON_Pin;
  GPIO_InitStruct.Mode = GPIO_MODE_INPUT;
  GPIO_InitStruct.Pull = GPIO_NOPULL;
  HAL_GPIO_Init(GPIOE, &GPIO_InitStruct);

  /*Configure GPIO pins : OTG_FS_PowerSwitchOn_Pin PR_BUZZER_Pin */
  GPIO_InitStruct.Pin = OTG_FS_PowerSwitchOn_Pin|PR_BUZZER_Pin;
  GPIO_InitStruct.Mode = GPIO_MODE_OUTPUT_PP;
  GPIO_InitStruct.Pull = GPIO_NOPULL;
  GPIO_InitStruct.Speed = GPIO_SPEED_FREQ_LOW;
  HAL_GPIO_Init(GPIOC, &GPIO_InitStruct);

  /*Configure GPIO pin : PDM_OUT_Pin */
  GPIO_InitStruct.Pin = PDM_OUT_Pin;
  GPIO_InitStruct.Mode = GPIO_MODE_AF_PP;
  GPIO_InitStruct.Pull = GPIO_NOPULL;
  GPIO_InitStruct.Speed = GPIO_SPEED_FREQ_LOW;
  GPIO_InitStruct.Alternate = GPIO_AF5_SPI2;
  HAL_GPIO_Init(PDM_OUT_GPIO_Port, &GPIO_InitStruct);

  /*Configure GPIO pin : PR_SYSTEM_RESET_BUTTON_Pin */
  GPIO_InitStruct.Pin = PR_SYSTEM_RESET_BUTTON_Pin;
  GPIO_InitStruct.Mode = GPIO_MODE_INPUT;
  GPIO_InitStruct.Pull = GPIO_NOPULL;
  HAL_GPIO_Init(PR_SYSTEM_RESET_BUTTON_GPIO_Port, &GPIO_InitStruct);

  /*Configure GPIO pin : I2S3_WS_Pin */
  GPIO_InitStruct.Pin = I2S3_WS_Pin;
  GPIO_InitStruct.Mode = GPIO_MODE_AF_PP;
  GPIO_InitStruct.Pull = GPIO_NOPULL;
  GPIO_InitStruct.Speed = GPIO_SPEED_FREQ_LOW;
  GPIO_InitStruct.Alternate = GPIO_AF6_SPI3;
  HAL_GPIO_Init(I2S3_WS_GPIO_Port, &GPIO_InitStruct);

  /*Configure GPIO pins : SPI1_SCK_Pin SPI1_MISO_Pin SPI1_MOSI_Pin */
  GPIO_InitStruct.Pin = SPI1_SCK_Pin|SPI1_MISO_Pin|SPI1_MOSI_Pin;
  GPIO_InitStruct.Mode = GPIO_MODE_AF_PP;
  GPIO_InitStruct.Pull = GPIO_NOPULL;
  GPIO_InitStruct.Speed = GPIO_SPEED_FREQ_LOW;
  GPIO_InitStruct.Alternate = GPIO_AF5_SPI1;
  HAL_GPIO_Init(GPIOA, &GPIO_InitStruct);

  /*Configure GPIO pin : PR_PATIENT_OCCUPANCY_DET_Pin */
  GPIO_InitStruct.Pin = PR_PATIENT_OCCUPANCY_DET_Pin;
  GPIO_InitStruct.Mode = GPIO_MODE_INPUT;
  GPIO_InitStruct.Pull = GPIO_PULLDOWN;
  HAL_GPIO_Init(PR_PATIENT_OCCUPANCY_DET_GPIO_Port, &GPIO_InitStruct);

  /*Configure GPIO pin : PR_EMERGENCY_CALL_BUT_Pin */
  GPIO_InitStruct.Pin = PR_EMERGENCY_CALL_BUT_Pin;
  GPIO_InitStruct.Mode = GPIO_MODE_IT_RISING;
  GPIO_InitStruct.Pull = GPIO_PULLDOWN;
  HAL_GPIO_Init(PR_EMERGENCY_CALL_BUT_GPIO_Port, &GPIO_InitStruct);

  /*Configure GPIO pins : BOOT1_Pin PR_DS18B20_DATA_Pin */
  GPIO_InitStruct.Pin = BOOT1_Pin|PR_DS18B20_DATA_Pin;
  GPIO_InitStruct.Mode = GPIO_MODE_INPUT;
  GPIO_InitStruct.Pull = GPIO_NOPULL;
  HAL_GPIO_Init(GPIOB, &GPIO_InitStruct);

  /*Configure GPIO pin : CLK_IN_Pin */
  GPIO_InitStruct.Pin = CLK_IN_Pin;
  GPIO_InitStruct.Mode = GPIO_MODE_AF_PP;
  GPIO_InitStruct.Pull = GPIO_NOPULL;
  GPIO_InitStruct.Speed = GPIO_SPEED_FREQ_LOW;
  GPIO_InitStruct.Alternate = GPIO_AF5_SPI2;
  HAL_GPIO_Init(CLK_IN_GPIO_Port, &GPIO_InitStruct);

  /*Configure GPIO pins : LD4_Pin LD3_Pin LD5_Pin LD6_Pin
                           PR_SYSTEM_ON_LED_Pin PR_HEART_RATE_LED_Pin PR_BODY_TEMPERATURE_LED_Pin Audio_RST_Pin
                           PR_EMERGENCY_CALL_LED_Pin PR_PATIENT_OCCUPANCY_LED_Pin */
  GPIO_InitStruct.Pin = LD4_Pin|LD3_Pin|LD5_Pin|LD6_Pin
                          |PR_SYSTEM_ON_LED_Pin|PR_HEART_RATE_LED_Pin|PR_BODY_TEMPERATURE_LED_Pin|Audio_RST_Pin
                          |PR_EMERGENCY_CALL_LED_Pin|PR_PATIENT_OCCUPANCY_LED_Pin;
  GPIO_InitStruct.Mode = GPIO_MODE_OUTPUT_PP;
  GPIO_InitStruct.Pull = GPIO_NOPULL;
  GPIO_InitStruct.Speed = GPIO_SPEED_FREQ_LOW;
  HAL_GPIO_Init(GPIOD, &GPIO_InitStruct);

  /*Configure GPIO pins : I2S3_MCK_Pin I2S3_SCK_Pin I2S3_SD_Pin */
  GPIO_InitStruct.Pin = I2S3_MCK_Pin|I2S3_SCK_Pin|I2S3_SD_Pin;
  GPIO_InitStruct.Mode = GPIO_MODE_AF_PP;
  GPIO_InitStruct.Pull = GPIO_NOPULL;
  GPIO_InitStruct.Speed = GPIO_SPEED_FREQ_LOW;
  GPIO_InitStruct.Alternate = GPIO_AF6_SPI3;
  HAL_GPIO_Init(GPIOC, &GPIO_InitStruct);

  /*Configure GPIO pin : VBUS_FS_Pin */
  GPIO_InitStruct.Pin = VBUS_FS_Pin;
  GPIO_InitStruct.Mode = GPIO_MODE_INPUT;
  GPIO_InitStruct.Pull = GPIO_NOPULL;
  HAL_GPIO_Init(VBUS_FS_GPIO_Port, &GPIO_InitStruct);

  /*Configure GPIO pins : OTG_FS_ID_Pin OTG_FS_DM_Pin OTG_FS_DP_Pin */
  GPIO_InitStruct.Pin = OTG_FS_ID_Pin|OTG_FS_DM_Pin|OTG_FS_DP_Pin;
  GPIO_InitStruct.Mode = GPIO_MODE_AF_PP;
  GPIO_InitStruct.Pull = GPIO_NOPULL;
  GPIO_InitStruct.Speed = GPIO_SPEED_FREQ_LOW;
  GPIO_InitStruct.Alternate = GPIO_AF10_OTG_FS;
  HAL_GPIO_Init(GPIOA, &GPIO_InitStruct);

  /*Configure GPIO pin : OTG_FS_OverCurrent_Pin */
  GPIO_InitStruct.Pin = OTG_FS_OverCurrent_Pin;
  GPIO_InitStruct.Mode = GPIO_MODE_INPUT;
  GPIO_InitStruct.Pull = GPIO_NOPULL;
  HAL_GPIO_Init(OTG_FS_OverCurrent_GPIO_Port, &GPIO_InitStruct);

  /*Configure GPIO pin : PR_MAX30102_INT_Pin */
  GPIO_InitStruct.Pin = PR_MAX30102_INT_Pin;
  GPIO_InitStruct.Mode = GPIO_MODE_IT_FALLING;
  GPIO_InitStruct.Pull = GPIO_PULLUP;
  HAL_GPIO_Init(PR_MAX30102_INT_GPIO_Port, &GPIO_InitStruct);

  /* EXTI interrupt init*/
  HAL_NVIC_SetPriority(EXTI1_IRQn, 0, 0);
  HAL_NVIC_EnableIRQ(EXTI1_IRQn);

  HAL_NVIC_SetPriority(EXTI9_5_IRQn, 0, 0);
  HAL_NVIC_EnableIRQ(EXTI9_5_IRQn);

}

void Error_Handler(void)
{
  __disable_irq();
  while (1)
  {
  }
}
